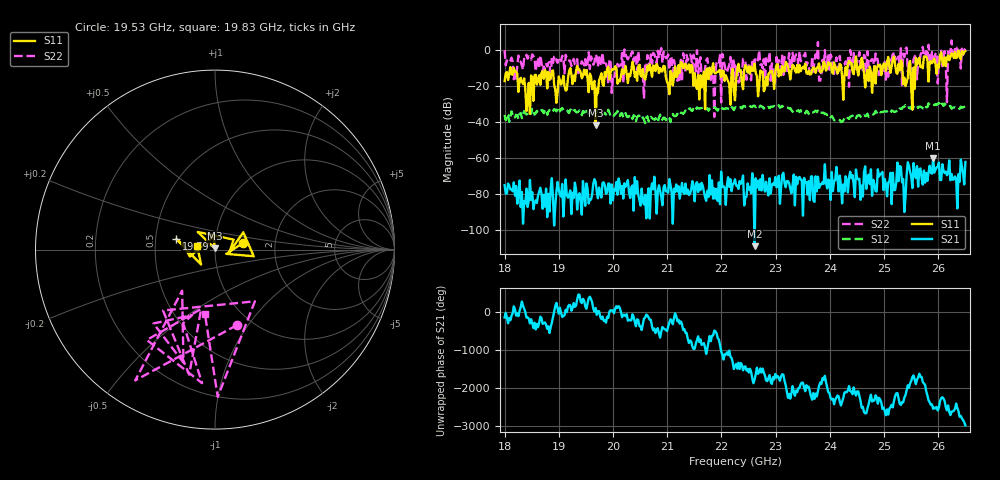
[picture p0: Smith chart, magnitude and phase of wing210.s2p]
!Keysight Technologies,N5242B,MY47200105,A.14.00.23
!Date: Friday, May 10, 2024 11:07:11
!Correction: S11(C  2-Port  )
!S21(C  2-Port  )
!S12(C  2-Port  )
!S22(C  2-Port  )
!S2P File: Measurement: :
# Hz S  RI  R 50
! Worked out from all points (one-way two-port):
!   401 points, 18 GHz to 26.5 GHz, reference 50 ohm
!   highest |S21| = -60.02 dB at 25.91 GHz (marker M1); lowest = -108.7 dB at 22.61 GHz (marker M2)
!   lowest |S11| = -41.9 dB at 19.68 GHz (marker M3), VSWR 1.02, Z = 49.8 + j0.768 ohm
!   |S11| at or under -10 dB: 18.11 GHz to 19.33 GHz (1.222 GHz wide, 6.53 % of centre); 19.35 GHz to 19.9 GHz (551.7 MHz wide, 2.81 % of centre); 21.86 GHz to 22.3 GHz (440.7 MHz wide, 2 % of centre) (the widest 3 of 59)
!   |S22| runs from -37.2 to 5.1 dB; largest |S21 - S12| = 0.035
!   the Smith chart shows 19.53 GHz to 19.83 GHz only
!   S11 on the Smith chart (normalised r, x): 19.53 GHz: 1.36, +0.10; 19.79 GHz: 0.64, +0.08; 19.83 GHz: 0.82, +0.03
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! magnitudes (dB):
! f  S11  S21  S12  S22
! 18 GHz  -17.3  -74.9  -36.0  -0.2
! 18.43 GHz  -28.8  -87.0  -35.4  -4.9
! 18.72 GHz  -16.1  -80.3  -35.1  -9.3
! 19.42 GHz  -15.8  -91.3  -36.2  -6.4
! 19.53 GHz  -15.9  -76.7  -34.5  -7.2
! 19.68 GHz  -41.9  -73.1  -33.4  -2.5
! 19.79 GHz  -13.0  -81.8  -35.3  -8.8
! 19.83 GHz  -19.9  -73.3  -35.3  -8.9
! 20.02 GHz  -10.9  -77.0  -36.5  -16.5
! 20.38 GHz  -9.4  -89.0  -36.2  -6.6
! 20.55 GHz  -10.6  -83.9  -37.4  -13.8
! 20.85 GHz  -12.9  -75.0  -37.6  -4.6
! 21.23 GHz  -12.7  -82.4  -36.3  -17.9
! 21.4 GHz  -8.1  -80.3  -32.8  -4.3
! 21.85 GHz  -7.4  -82.4  -32.5  -8.9
! 22.25 GHz  -28.0  -71.7  -32.1  -16.3
! 22.61 GHz  -7.6  -108.7  -31.0  -7.4
! 23.67 GHz  -10.9  -70.1  -34.4  -3.8
! 25.1 GHz  -9.1  -73.0  -33.8  -6.0
! 25.52 GHz  -33.2  -76.5  -31.6  -10.0
! 25.91 GHz  -6.4  -60.0  -30.4  -4.7
! 26.5 GHz  -0.7  -62.1  -32.9  0.6
